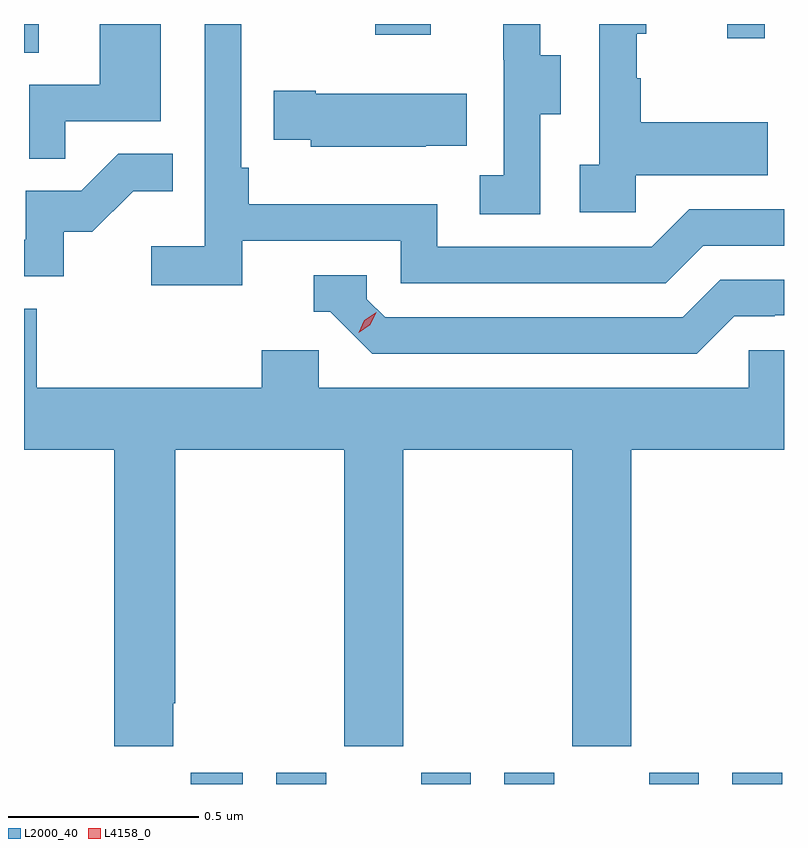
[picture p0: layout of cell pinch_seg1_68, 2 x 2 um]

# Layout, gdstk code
import gdstk
lib = gdstk.Library(unit=1e-6, precision=1e-09)
def R(c, l, rs):  # rectangles x0, y0, x1, y1
    for r in rs: c.add(gdstk.rectangle(r[:2], r[2:], *l))
def P(c, l, *ps):  # polygons
    for p in ps: c.add(gdstk.Polygon(p, *l))
L2000_40 = (2000, 40)
L4158_0 = (4158, 0)

pinch_seg1_68 = lib.new_cell('pinch_seg1_68')
R(pinch_seg1_68, L2000_40, [(1036.691,566.837,1036.828,566.866), (1036.916,566.837,1037.047,566.866), (1037.297,566.837,1037.428,566.866), (1037.516,566.837,1037.647,566.866), (1037.897,566.837,1038.028,566.866), (1038.116,566.837,1038.247,566.866), (1036.252,568.762,1036.291,568.837), (1038.103,568.8,1038.201,568.837), (1037.176,568.809,1037.323,568.837)])
P(pinch_seg1_68, L2000_40, [(1037.61,568.6),(1037.665,568.6),(1037.665,568.755),(1037.611,568.755),(1037.611,568.837),(1037.513,568.837),(1037.513,568.743),(1037.514,568.743),(1037.514,568.439),(1037.451,568.439),(1037.451,568.336),(1037.61,568.336)],
  [(1036.826,568.266),(1037.244,568.266),(1037.244,568.155),(1037.941,568.155),(1038.04,568.254),(1038.252,568.254),(1038.252,568.35),(1038.003,568.35),(1037.904,568.251),(1037.34,568.251),(1037.34,568.363),(1036.844,568.363),(1036.844,568.459),(1036.824,568.459),(1036.824,568.837),(1036.728,568.837),(1036.728,568.252),(1036.587,568.252),(1036.587,568.15),(1036.826,568.15)],
  [(1036.361,568.581),(1036.612,568.581),(1036.612,568.837),(1036.451,568.837),(1036.451,568.677),(1036.266,568.677),(1036.266,568.483),(1036.361,568.483)],
  [(1037.862,568.439),(1038.209,568.439),(1038.209,568.579),(1037.875,568.579),(1037.875,568.694),(1037.865,568.694),(1037.865,568.812),(1037.89,568.812),(1037.89,568.837),(1037.766,568.837),(1037.766,568.466),(1037.715,568.466),(1037.715,568.341),(1037.862,568.341)],
  [(1037.309,568.517),(1037.417,568.517),(1037.417,568.654),(1037.02,568.654),(1037.02,568.662),(1036.909,568.662),(1036.909,568.532),(1037.007,568.532),(1037.007,568.514),(1037.309,568.514)],
  [(1036.356,568.29),(1036.432,568.29),(1036.539,568.397),(1036.643,568.397),(1036.643,568.496),(1036.5,568.496),(1036.402,568.398),(1036.257,568.398),(1036.257,568.269),(1036.252,568.269),(1036.252,568.173),(1036.356,568.173)],
  [(1038.121,568.068),(1038.228,568.068),(1038.228,568.071),(1038.252,568.071),(1038.252,568.164),(1038.084,568.164),(1037.985,568.065),(1037.202,568.065),(1037.154,568.113),(1037.154,568.176),(1037.015,568.176),(1037.015,568.08),(1037.058,568.08),(1037.169,567.969),(1038.022,567.969)],
  [(1036.645,567.049),(1036.65,567.049),(1036.65,567.716),(1037.095,567.716),(1037.095,566.937),(1037.25,566.937),(1037.25,567.716),(1037.695,567.716),(1037.695,566.937),(1037.85,566.937),(1037.85,567.716),(1038.252,567.716),(1038.252,567.978),(1038.159,567.978),(1038.159,567.88),(1037.028,567.88),(1037.028,567.978),(1036.877,567.978),(1036.877,567.88),(1036.286,567.88),(1036.286,568.088),(1036.252,568.088),(1036.252,567.716),(1036.49,567.716),(1036.49,566.937),(1036.645,566.937)])
P(pinch_seg1_68, L4158_0, [(1037.133,568.025),(1037.133,568.025),(1037.148,568.058),(1037.179,568.078),(1037.179,568.078),(1037.179,568.078),(1037.163,568.045),(1037.133,568.025)])

lib.write_gds('pinch_seg1_68.gds')
